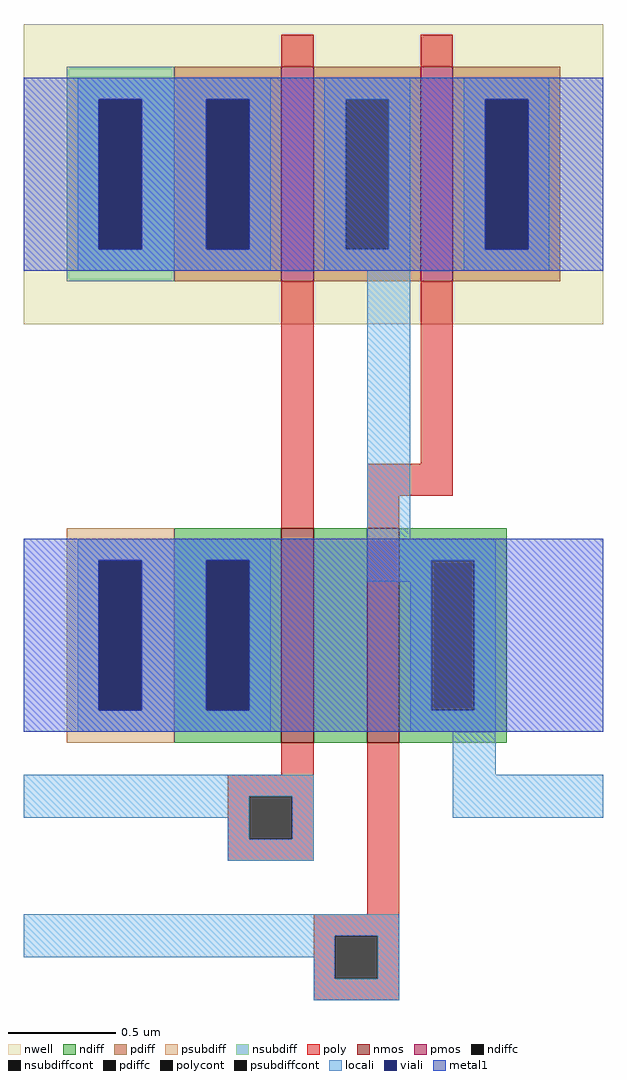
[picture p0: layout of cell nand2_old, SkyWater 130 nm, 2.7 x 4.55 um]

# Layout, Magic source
magic
tech sky130A
<< nwell >>
rect -120 195 150 335
<< nmos >>
rect 0 0 15 100
rect 40 0 55 100
<< pmos >>
rect 0 215 15 315
rect 65 215 80 315
<< ndiff >>
rect -50 85 0 100
rect -50 15 -35 85
rect -15 15 0 85
rect -50 0 0 15
rect 15 0 40 100
rect 55 85 105 100
rect 55 15 70 85
rect 90 15 105 85
rect 55 0 105 15
<< pdiff >>
rect -50 300 0 315
rect -50 230 -35 300
rect -15 230 0 300
rect -50 215 0 230
rect 15 300 65 315
rect 15 230 30 300
rect 50 230 65 300
rect 15 215 65 230
rect 80 300 130 315
rect 80 230 95 300
rect 115 230 130 300
rect 80 215 130 230
<< ndiffc >>
rect -35 15 -15 85
rect 70 15 90 85
<< pdiffc >>
rect -35 230 -15 300
rect 30 230 50 300
rect 95 230 115 300
<< psubdiff >>
rect -100 85 -50 100
rect -100 15 -85 85
rect -65 15 -50 85
rect -100 0 -50 15
<< nsubdiff >>
rect -100 300 -50 315
rect -100 230 -85 300
rect -65 230 -50 300
rect -100 215 -50 230
<< psubdiffcont >>
rect -85 15 -65 85
<< nsubdiffcont >>
rect -85 230 -65 300
<< poly >>
rect 0 315 15 330
rect 65 315 80 330
rect 0 100 15 215
rect 65 130 80 215
rect 40 115 80 130
rect 40 100 55 115
rect 0 -15 15 0
rect -25 -25 15 -15
rect -25 -45 -15 -25
rect 5 -45 15 -25
rect -25 -55 15 -45
rect 40 -80 55 0
rect 15 -90 55 -80
rect 15 -110 25 -90
rect 45 -110 55 -90
rect 15 -120 55 -110
<< polycont >>
rect -15 -45 5 -25
rect 25 -110 45 -90
<< locali >>
rect -95 300 -5 310
rect -95 230 -85 300
rect -65 230 -35 300
rect -15 230 -5 300
rect -95 220 -5 230
rect 20 300 60 310
rect 20 230 30 300
rect 50 230 60 300
rect 20 220 60 230
rect 85 300 125 310
rect 85 230 95 300
rect 115 230 125 300
rect 85 220 125 230
rect 40 95 60 220
rect -95 85 -5 95
rect -95 15 -85 85
rect -65 15 -35 85
rect -15 15 -5 85
rect 40 85 100 95
rect 40 75 70 85
rect -95 5 -5 15
rect 60 15 70 75
rect 90 15 100 85
rect 60 5 100 15
rect 80 -15 100 5
rect -120 -25 15 -15
rect -120 -35 -15 -25
rect -25 -45 -15 -35
rect 5 -45 15 -25
rect 80 -35 150 -15
rect -25 -55 15 -45
rect -120 -90 55 -80
rect -120 -100 25 -90
rect 15 -110 25 -100
rect 45 -110 55 -90
rect 15 -120 55 -110
<< viali >>
rect -85 230 -65 300
rect -35 230 -15 300
rect 95 230 115 300
rect -85 15 -65 85
rect -35 15 -15 85
<< metal1 >>
rect -120 300 150 310
rect -120 230 -85 300
rect -65 230 -35 300
rect -15 230 95 300
rect 115 230 150 300
rect -120 220 150 230
rect -120 85 150 95
rect -120 15 -85 85
rect -65 15 -35 85
rect -15 15 150 85
rect -120 5 150 15
<< end >>
